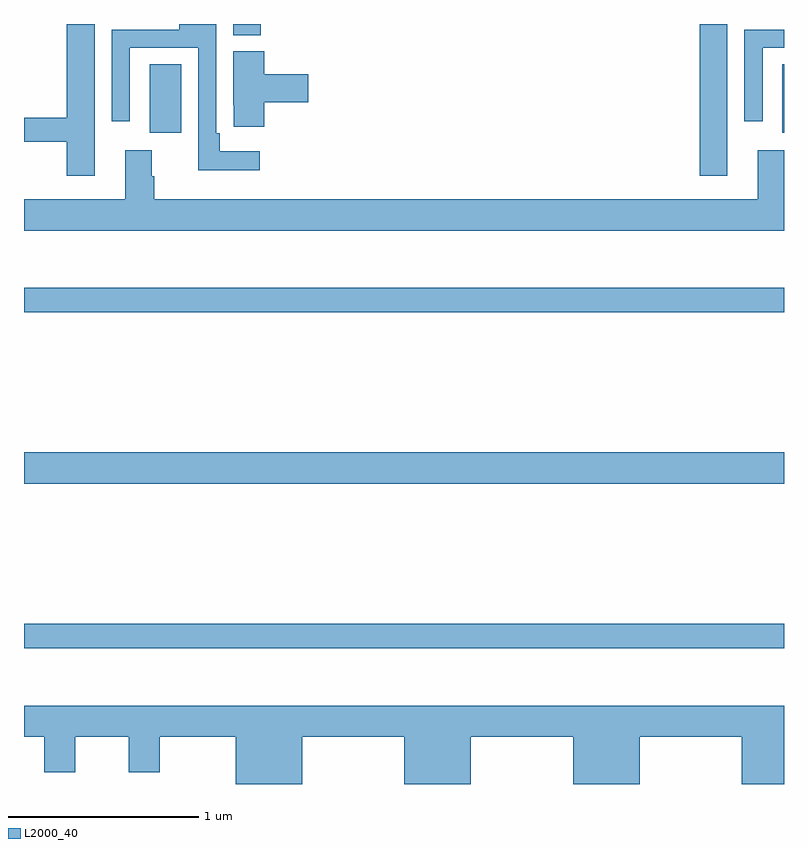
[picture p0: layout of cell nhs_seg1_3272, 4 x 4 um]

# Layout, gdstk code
import gdstk
lib = gdstk.Library(unit=1e-6, precision=1e-09)
def R(c, l, rs):  # rectangles x0, y0, x1, y1
    for r in rs: c.add(gdstk.rectangle(r[:2], r[2:], *l))
def P(c, l, *ps):  # polygons
    for p in ps: c.add(gdstk.Polygon(p, *l))
L2000_40 = (2000, 40)

nhs_seg1_3272 = lib.new_cell('nhs_seg1_3272')
R(nhs_seg1_3272, L2000_40, [(289,502.914,293,503.042), (289,503.78,293,503.944), (289,504.682,293,504.811), (292.556,505.401,292.702,506.199), (289.661,505.626,289.828,505.988), (292.991,505.626,293,505.988), (290.102,506.14,290.246,506.199)])
P(nhs_seg1_3272, L2000_40, [(290.242,505.528),(290.029,505.528),(290.029,505.624),(290.013,505.624),(290.013,506.199),(289.817,506.199),(289.817,506.169),(289.461,506.169),(289.461,505.686),(289.557,505.686),(289.557,506.073),(289.917,506.073),(289.917,505.43),(290.242,505.43)],
  [(289.372,506.199),(289.226,506.199),(289.226,505.706),(289,505.706),(289,505.578),(289.226,505.578),(289.226,505.401),(289.372,505.401)],
  [(292.887,506.073),(293,506.073),(293,506.169),(292.791,506.169),(292.791,505.686),(292.887,505.686)],
  [(290.264,505.787),(290.497,505.787),(290.497,505.934),(290.264,505.934),(290.264,506.055),(290.102,506.055),(290.102,505.771),(290.103,505.771),(290.103,505.659),(290.264,505.659)],
  [(293,505.534),(292.862,505.534),(292.862,505.276),(289.685,505.276),(289.685,505.397),(289.672,505.397),(289.672,505.534),(289.532,505.534),(289.532,505.276),(289,505.276),(289,505.112),(293,505.112)],
  [(289,502.448),(289.106,502.448),(289.106,502.26),(289.27,502.26),(289.27,502.448),(289.55,502.448),(289.55,502.26),(289.714,502.26),(289.714,502.448),(290.114,502.448),(290.114,502.199),(290.464,502.199),(290.464,502.448),(291.002,502.448),(291.002,502.199),(291.352,502.199),(291.352,502.448),(291.89,502.448),(291.89,502.199),(292.24,502.199),(292.24,502.448),(292.778,502.448),(292.778,502.199),(293,502.199),(293,502.612),(289,502.612)])

lib.write_gds('nhs_seg1_3272.gds')
